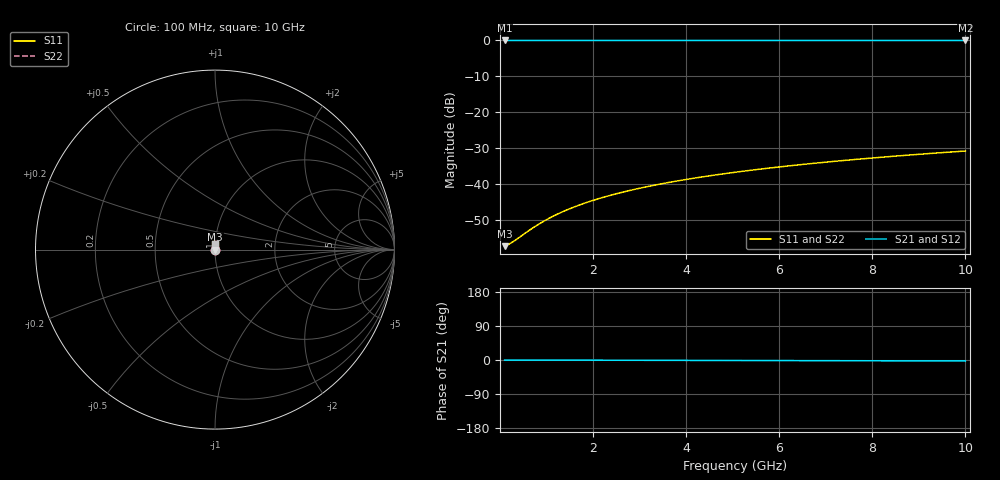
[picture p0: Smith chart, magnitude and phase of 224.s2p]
# Hz S RI R 50.00
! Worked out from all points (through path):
!   100 points, 100 MHz to 10 GHz, reference 50 ohm
!   highest |S21| = -0.01 dB at 100 MHz (marker M1); lowest = 0.0 dB at 10 GHz (marker M2)
!   lowest |S11| = -57.4 dB at 100 MHz (marker M3), VSWR 1.00, Z = 50.1 + j0.0285 ohm
!   |S11| at or under -10 dB: start of sweep to end of sweep
!   |S22| runs from -57.4 to -30.9 dB; largest |S21 - S12| = 0
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1e8  0.00132 0.000284  0.9987 -0.000442  0.9987 -0.000442  0.00132 0.000284
2e8  0.00133 0.000569  0.9987 -0.000885  0.9987 -0.000885  0.00133 0.000569
3e8  0.00133 0.000853  0.9987 -0.00133  0.9987 -0.00133  0.00133 0.000853
7e8  0.00136 0.00199  0.9986 -0.0031  0.9986 -0.0031  0.00136 0.00199
8e8  0.00136 0.00228  0.9986 -0.00354  0.9986 -0.00354  0.00136 0.00228
1e9  0.00137 0.00284  0.9986 -0.00442  0.9986 -0.00442  0.00137 0.00284
1.2e9  0.00138 0.00341  0.9986 -0.00531  0.9986 -0.00531  0.00138 0.00341
1.4e9  0.00139 0.00398  0.9986 -0.00619  0.9986 -0.00619  0.00139 0.00398
1.6e9  0.0014 0.00455  0.9986 -0.00708  0.9986 -0.00708  0.0014 0.00455
1.8e9  0.00142 0.00512  0.9986 -0.00796  0.9986 -0.00796  0.00142 0.00512
2.1e9  0.00144 0.00597  0.9986 -0.00929  0.9986 -0.00929  0.00144 0.00597
2.5e9  0.00147 0.00711  0.9985 -0.0111  0.9985 -0.0111  0.00147 0.00711
2.9e9  0.0015 0.00825  0.9985 -0.0128  0.9985 -0.0128  0.0015 0.00825
3.4e9  0.00155 0.00967  0.9984 -0.015  0.9984 -0.015  0.00155 0.00967
3.8e9  0.00159 0.0108  0.9984 -0.0168  0.9984 -0.0168  0.00159 0.0108
4.2e9  0.00163 0.012  0.9983 -0.0186  0.9983 -0.0186  0.00163 0.012
5.1e9  0.00175 0.0145  0.9982 -0.0226  0.9982 -0.0226  0.00175 0.0145
5.9e9  0.00187 0.0168  0.9981 -0.0261  0.9981 -0.0261  0.00187 0.0168
6.7e9  0.002 0.0191  0.9979 -0.0297  0.9979 -0.0297  0.002 0.0191
7.5e9  0.00216 0.0214  0.9978 -0.0332  0.9978 -0.0332  0.00216 0.0214
8.4e9  0.00235 0.0239  0.9976 -0.0372  0.9976 -0.0372  0.00235 0.0239
1e10  0.00274 0.0285  0.9971 -0.0444  0.9971 -0.0444  0.00274 0.0285
